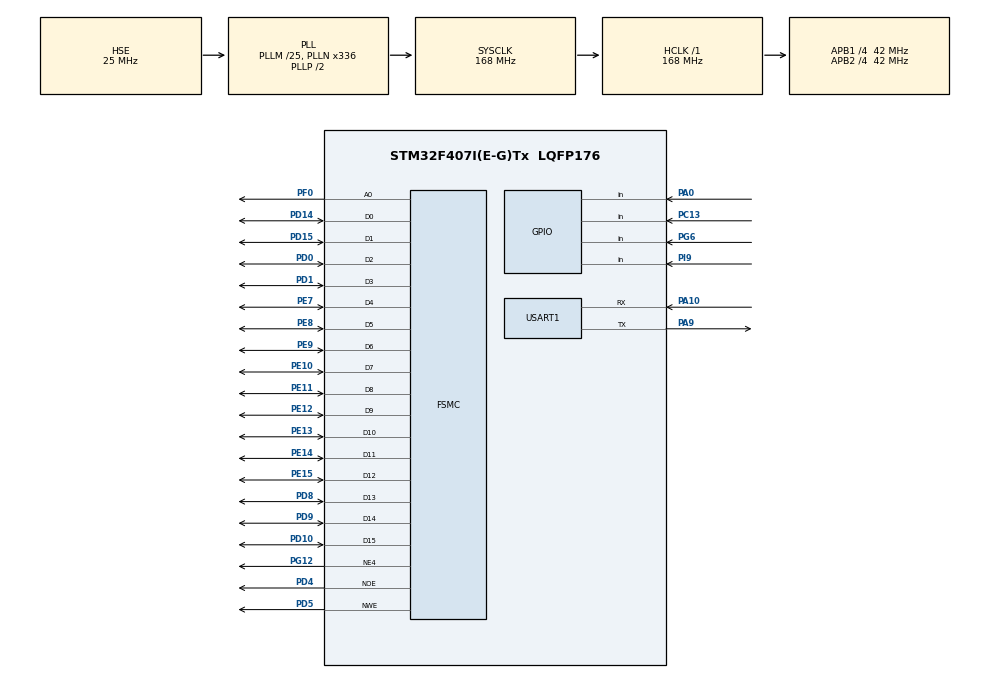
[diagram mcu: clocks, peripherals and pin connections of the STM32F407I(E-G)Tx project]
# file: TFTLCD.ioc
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Mcu.Family=STM32F4
Mcu.Name=STM32F407I(E-G)Tx
Mcu.Package=LQFP176
NVIC.PriorityGroup=NVIC_PRIORITYGROUP_4
NVIC.USART1_IRQn=true\:0\:0\:false\:false\:true
PA0-WKUP.Signal=GPIO_Input
PA10.Mode=Asynchronous
PA10.Signal=USART1_RX
PA9.Mode=Asynchronous
PA9.Signal=USART1_TX
PC13-ANTI_TAMP.Signal=GPIO_Input
PD0.Signal=FSMC_D2_DA2
PD1.Signal=FSMC_D3_DA3
PD10.Signal=FSMC_D15_DA15
PD14.Signal=FSMC_D0_DA0
PD15.Signal=FSMC_D1_DA1
PD4.Signal=FSMC_NOE
PD5.Signal=FSMC_NWE
PD8.Signal=FSMC_D13_DA13
PD9.Signal=FSMC_D14_DA14
PE10.Signal=FSMC_D7_DA7
PE11.Signal=FSMC_D8_DA8
PE12.Signal=FSMC_D9_DA9
PE13.Signal=FSMC_D10_DA10
PE14.Signal=FSMC_D11_DA11
PE15.Signal=FSMC_D12_DA12
PE7.Signal=FSMC_D4_DA4
PE8.Signal=FSMC_D5_DA5
PE9.Signal=FSMC_D6_DA6
PF0.Signal=FSMC_A0
PG12.Mode=NorPsramChipSelect4_1
PG12.Signal=FSMC_NE4
PG6.Signal=GPIO_Input
PH0-OSC_IN.Mode=HSE-External-Oscillator
PH0-OSC_IN.Signal=RCC_OSC_IN
PH1-OSC_OUT.Mode=HSE-External-Oscillator
PH1-OSC_OUT.Signal=RCC_OSC_OUT
PI9.Signal=GPIO_Input
ProjectManager.HeapSize=0x200
ProjectManager.StackSize=0x400
ProjectManager.TargetToolchain=MDK-ARM V5
RCC.48MHZClocksFreq_Value=84000000
RCC.AHBFreq_Value=168000000
RCC.APB1CLKDivider=RCC_HCLK_DIV4
RCC.APB1Freq_Value=42000000
RCC.APB1TimFreq_Value=84000000
RCC.APB2CLKDivider=RCC_HCLK_DIV4
RCC.APB2Freq_Value=42000000
RCC.APB2TimFreq_Value=84000000
RCC.CortexFreq_Value=168000000
RCC.HCLKFreq_Value=168000000
RCC.HSE_VALUE=25000000
RCC.HSI_VALUE=16000000
RCC.LSE_VALUE=32768
RCC.PLLM=25
RCC.PLLN=336
RCC.PLLSourceVirtual=RCC_PLLSOURCE_HSE
RCC.SYSCLKFreq_VALUE=168000000
RCC.SYSCLKSource=RCC_SYSCLKSOURCE_PLLCLK
RCC.VCOOutputFreq_Value=336000000
SH.FSMC_A0.0=FSMC_A0,A0_1
SH.FSMC_D0_DA0.0=FSMC_D0,16b-d1
SH.FSMC_D10_DA10.0=FSMC_D10,16b-d1
SH.FSMC_D11_DA11.0=FSMC_D11,16b-d1
SH.FSMC_D12_DA12.0=FSMC_D12,16b-d1
SH.FSMC_D13_DA13.0=FSMC_D13,16b-d1
SH.FSMC_D14_DA14.0=FSMC_D14,16b-d1
SH.FSMC_D15_DA15.0=FSMC_D15,16b-d1
SH.FSMC_D1_DA1.0=FSMC_D1,16b-d1
SH.FSMC_D2_DA2.0=FSMC_D2,16b-d1
SH.FSMC_D3_DA3.0=FSMC_D3,16b-d1
SH.FSMC_D4_DA4.0=FSMC_D4,16b-d1
SH.FSMC_D5_DA5.0=FSMC_D5,16b-d1
SH.FSMC_D6_DA6.0=FSMC_D6,16b-d1
SH.FSMC_D7_DA7.0=FSMC_D7,16b-d1
SH.FSMC_D8_DA8.0=FSMC_D8,16b-d1
SH.FSMC_D9_DA9.0=FSMC_D9,16b-d1
SH.FSMC_NOE.0=FSMC_NOE,Lcd1
SH.FSMC_NWE.0=FSMC_NWE,Lcd1
USART1.VirtualMode=VM_ASYNC
board=TFTLCD

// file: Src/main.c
/**
  ******************************************************************************
  * File Name          : main.c
  * Description        : Main program body
  ******************************************************************************
  *
  * COPYRIGHT(c) 2023 STMicroelectronics
  *
  * Redistribution and use in source and binary forms, with or without modification,
  * are permitted provided that the following conditions are met:
  *   1. Redistributions of source code must retain the above copyright notice,
  *      this list of conditions and the following disclaimer.
  *   2. Redistributions in binary form must reproduce the above copyright notice,
  *      this list of conditions and the following disclaimer in the documentation
  *      and/or other materials provided with the distribution.
  *   3. Neither the name of STMicroelectronics nor the names of its contributors
  *      may be used to endorse or promote products derived from this software
  *      without specific prior written permission.
  *
  * THIS SOFTWARE IS PROVIDED BY THE COPYRIGHT HOLDERS AND CONTRIBUTORS "AS IS"
  * AND ANY EXPRESS OR IMPLIED WARRANTIES, INCLUDING, BUT NOT LIMITED TO, THE
  * IMPLIED WARRANTIES OF MERCHANTABILITY AND FITNESS FOR A PARTICULAR PURPOSE ARE
  * DISCLAIMED. IN NO EVENT SHALL THE COPYRIGHT HOLDER OR CONTRIBUTORS BE LIABLE
  * FOR ANY DIRECT, INDIRECT, INCIDENTAL, SPECIAL, EXEMPLARY, OR CONSEQUENTIAL
  * DAMAGES (INCLUDING, BUT NOT LIMITED TO, PROCUREMENT OF SUBSTITUTE GOODS OR
  * SERVICES; LOSS OF USE, DATA, OR PROFITS; OR BUSINESS INTERRUPTION) HOWEVER
  * CAUSED AND ON ANY THEORY OF LIABILITY, WHETHER IN CONTRACT, STRICT LIABILITY,
  * OR TORT (INCLUDING NEGLIGENCE OR OTHERWISE) ARISING IN ANY WAY OUT OF THE USE
  * OF THIS SOFTWARE, EVEN IF ADVISED OF THE POSSIBILITY OF SUCH DAMAGE.
  *
  ******************************************************************************
  */
#include "main.h"
#include "stm32f4xx_hal.h"
#include "usart.h"
#include "gpio.h"
#include "fsmc.h"

/* USER CODE BEGIN Includes */
#include "ds18b20.h"
#include "lcd.h"
/* USER CODE END Includes */

/* USER CODE BEGIN PV */
/* Private variables ---------------------------------------------------------*/
uint8_t Buff[5];
uint8_t String[10];
uint8_t Key;
uint8_t Mode;
extern uint8_t gImage_fg[];
/* USER CODE END PV */

void SystemClock_Config(void);
void Error_Handler(void);

/* USER CODE BEGIN PFP */
/* Private function prototypes -----------------------------------------------*/
	short temp;
	uint8_t crcstate, serial[8];
/* USER CODE END PFP */

int main(void)
{

  /* MCU Configuration----------------------------------------------------------*/

  /* Reset of all peripherals, Initializes the Flash interface and the Systick. */
  HAL_Init();

  /* Configure the system clock */
  SystemClock_Config();

  /* Initialize all configured peripherals */
  MX_GPIO_Init();
  MX_FSMC_Init();
  MX_USART1_UART_Init();

  /* USER CODE BEGIN 2 */
	printf("\n\r ====================================================================\n\r");
  printf("\n\r FS-STM32F407IGT开发板  DS18B20温度传感器实验 \n");
	while(DS18B20_Init())//初始化DS18B20,兼检测18B20
    {
        printf("\n\r FS-STM32F407IGT开发板提示： 请检查DS18B20温度传感器是否安装好...");
    	HAL_Delay(800);
    }
			crcstate = DS18B20_Get_Serial(serial);
    if(crcstate != 0)
	{
	    printf("\n\r CRC error while Getting Serial...");
	}

	if(0x28 == serial[0])
	{
        printf("\n\r FS-STM32F407IGT开发板  成功检测到DS18B20温度传感器，产品系列编码为0x28.\n\r");
	}
    else
	{
        printf("\n\r FS-STM32F407IGT开发板  未知型号温度传感器产品系列编码0x%X.", serial[0]);
        printf("\n\r FS-STM32F407IGT开发板  未知型号温度传感器以下打印温度值不可信。\n\r");
	}

    printf("\n\r FS-STM32F407IGT开发板  DS18B20温度传感序列号：");
		for(temp=1;temp<7;temp++)
    {
    	printf("%02X-\n\r", serial[temp]);
    }
    printf("\n\r FS-STM32F407IGT开发板  DS18B20温度传感CRC检验值为0x%02X,", serial[7]);
	if(crcstate == 0)
	{
	    printf(" 校验正确。\n\r");
	}
    printf("\n\r ====================================================================\n\r\n\r");
	HAL_Delay(500);
	Mode = 1;
	lcd_init();
	lcd_clear(Blue);
	// HAL_Delay(2000);
	lcd_clear(Green);
	// HAL_Delay(2000);
	lcd_clear(Yellow);
	// HAL_Delay(2000);
	lcd_clear(White);
	LCD_ShowString(180, 18, "开发板实验", Black, White);  	/* 显示字符串 */
	// LCD_ShowChar(220,20,'p',16,Blue,White);

	LCD_Fill(10, 40, 100, 100, Blue);						   	/* 红色填充   */
	LCD_Fill(30, 60, 120, 120, White);
	LCD_ShowString(40, 80, "成就梦想", Blue, White);

  // Draw_Circle(180, 120, 30, Blue);							/*  画园     */
  LCD_DrawRectangle(180, 90, 338, 180, Green);				/*  画矩形,向右下角伸展   */
	// 平行四边形
	LCD_DrawLine(151, 60, 309, 60, Red); // 顶边
	LCD_DrawLine(180, 90, 151, 60, Red); // 左边
	LCD_DrawLine(180, 90, 338, 90, Red); // 底边
	LCD_DrawLine(338, 90, 309, 60, Red); // 右边

	LCD_DrawLine(151, 60, 151, 150, Blue);
	LCD_DrawLine(180, 180, 151, 150, Blue);

	// LCD_DrawPicture(240,136,400,245, gImage_fg);	/*（240，136）和（400,245）为图片的对角坐标，宽度为400-240，高度为（245-136）*/

  /* USER CODE END 2 */

  /* Infinite loop */
  while (1)
  {

  /* USER CODE BEGIN 3 */
		Key = KEY_Scan(0);
		switch(Key){
			case 3:
				Mode = 1;
				break;
			case 4:
				break;
			case 5:
				Mode = 2;
				break;
			case 6:
				Mode = 3;
		}
		if(DS18B20_Init())// 检测18B20  这里不是必须
		{
				printf("\n\r 请检查18B20温度传感是否安装好...");
				break;
		}

		temp=DS18B20_Get_Temp();
		if(temp<0)
		{
			temp=-temp;
			printf("-");
		}
		printf(" FS-407  当前温度为:%d.%dC\n\r\n\r",temp/10, temp%10);
		sprintf(Buff, "%d.%dC\n\r\n\r", temp/10, temp%10);
		switch(Mode) {
			case 1:
				LCD_ShowString(230, 130, Buff, Blue, Green);
				break;
			case 2:
				LCD_ShowString(230, 130, Buff, White, Black);
				break;
			case 3:
				LCD_ShowString(230, 130, Buff, Red, White);
				break;
		}
  }
  /* USER CODE END 3 */

}

/** System Clock Configuration
*/
void SystemClock_Config(void)
{

  RCC_OscInitTypeDef RCC_OscInitStruct;
  RCC_ClkInitTypeDef RCC_ClkInitStruct;

    /**Configure the main internal regulator output voltage
    */
  __HAL_RCC_PWR_CLK_ENABLE();

  __HAL_PWR_VOLTAGESCALING_CONFIG(PWR_REGULATOR_VOLTAGE_SCALE1);

    /**Initializes the CPU, AHB and APB busses clocks
    */
  RCC_OscInitStruct.OscillatorType = RCC_OSCILLATORTYPE_HSE;
  RCC_OscInitStruct.HSEState = RCC_HSE_ON;
  RCC_OscInitStruct.PLL.PLLState = RCC_PLL_ON;
  RCC_OscInitStruct.PLL.PLLSource = RCC_PLLSOURCE_HSE;
  RCC_OscInitStruct.PLL.PLLM = 25;
  RCC_OscInitStruct.PLL.PLLN = 336;
  RCC_OscInitStruct.PLL.PLLP = RCC_PLLP_DIV2;
  RCC_OscInitStruct.PLL.PLLQ = 4;
  if (HAL_RCC_OscConfig(&RCC_OscInitStruct) != HAL_OK)
  {
    Error_Handler();
  }

    /**Initializes the CPU, AHB and APB busses clocks
    */
  RCC_ClkInitStruct.ClockType = RCC_CLOCKTYPE_HCLK|RCC_CLOCKTYPE_SYSCLK
                              |RCC_CLOCKTYPE_PCLK1|RCC_CLOCKTYPE_PCLK2;
  RCC_ClkInitStruct.SYSCLKSource = RCC_SYSCLKSOURCE_PLLCLK;
  RCC_ClkInitStruct.AHBCLKDivider = RCC_SYSCLK_DIV1;
  RCC_ClkInitStruct.APB1CLKDivider = RCC_HCLK_DIV4;
  RCC_ClkInitStruct.APB2CLKDivider = RCC_HCLK_DIV4;

  if (HAL_RCC_ClockConfig(&RCC_ClkInitStruct, FLASH_LATENCY_5) != HAL_OK)
  {
    Error_Handler();
  }

    /**Configure the Systick interrupt time
    */
  HAL_SYSTICK_Config(HAL_RCC_GetHCLKFreq()/1000);

    /**Configure the Systick
    */
  HAL_SYSTICK_CLKSourceConfig(SYSTICK_CLKSOURCE_HCLK);

  /* SysTick_IRQn interrupt configuration */
  HAL_NVIC_SetPriority(SysTick_IRQn, 0, 0);
}

/* USER CODE BEGIN 4 */
//用户中断接收回调函数如下
void HAL_UART_RxCpltCallback(UART_HandleTypeDef *huart)
{
	HAL_UART_Transmit(&huart1, Buff, 10,100);
}
/*       */
int fputc(int ch, FILE *f)
{
  uint8_t tmp[1]={0};
	tmp[0] = (uint8_t)ch;
	HAL_UART_Transmit(&huart1,tmp,1,10);
	return ch;
}
/* USER CODE END 4 */

void Error_Handler(void)
{
  while(1)
  {
  }
}

/************************ (C) COPYRIGHT STMicroelectronics *****END OF FILE****/
